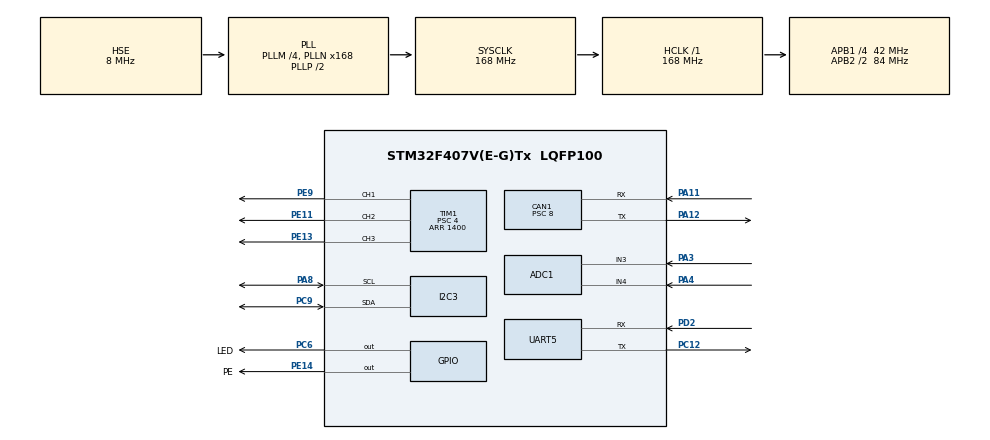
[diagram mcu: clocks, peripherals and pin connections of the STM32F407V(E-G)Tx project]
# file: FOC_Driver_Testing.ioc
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ADC1.Channel-0\#ChannelRegularConversion=ADC_CHANNEL_3
ADC1.Channel-2\#ChannelRegularConversion=ADC_CHANNEL_4
ADC1.ContinuousConvMode=ENABLE
ADC1.DMAContinuousRequests=ENABLE
ADC1.DiscontinuousConvMode=DISABLE
ADC1.EOCSelection=ADC_EOC_SEQ_CONV
ADC1.NbrOfConversion=2
ADC1.NbrOfConversionFlag=1
ADC1.Rank-2\#ChannelRegularConversion=2
ADC1.SamplingTime-2\#ChannelRegularConversion=ADC_SAMPLETIME_3CYCLES
ADC1.ScanConvMode=ENABLE
ADC1.master=1
CAN1.BS1=CAN_BS1_4TQ
CAN1.BS2=CAN_BS2_5TQ
CAN1.CalculateBaudRate=525000
CAN1.CalculateTimeBit=1904
CAN1.CalculateTimeQuantum=190.47619047619048
CAN1.Prescaler=8
Dma.ADC1.0.Direction=DMA_PERIPH_TO_MEMORY
Dma.ADC1.0.FIFOMode=DMA_FIFOMODE_DISABLE
Dma.ADC1.0.Instance=DMA2_Stream0
Dma.ADC1.0.MemDataAlignment=DMA_MDATAALIGN_HALFWORD
Dma.ADC1.0.MemInc=DMA_MINC_ENABLE
Dma.ADC1.0.Mode=DMA_CIRCULAR
Dma.ADC1.0.PeriphDataAlignment=DMA_PDATAALIGN_HALFWORD
Dma.ADC1.0.PeriphInc=DMA_PINC_DISABLE
Dma.ADC1.0.Priority=DMA_PRIORITY_LOW
Dma.Request0=ADC1
Mcu.Family=STM32F4
Mcu.Name=STM32F407V(E-G)Tx
Mcu.Package=LQFP100
NVIC.CAN1_RX0_IRQn=true\:0\:0\:false\:false\:true\:true\:true\:true
NVIC.DMA2_Stream0_IRQn=true\:0\:0\:false\:false\:true\:false\:true\:true
NVIC.PriorityGroup=NVIC_PRIORITYGROUP_4
NVIC.UART5_IRQn=true\:0\:0\:false\:false\:true\:true\:true\:true
PA11.Mode=CAN_Activate
PA11.Signal=CAN1_RX
PA12.Mode=CAN_Activate
PA12.Signal=CAN1_TX
PA3.Signal=ADCx_IN3
PA4.Signal=ADCx_IN4
PA8.Mode=I2C
PA8.Signal=I2C3_SCL
PC12.Mode=Asynchronous
PC12.Signal=UART5_TX
PC6.GPIO_Label=LED
PC6.Signal=GPIO_Output
PC9.Mode=I2C
PC9.Signal=I2C3_SDA
PD2.Mode=Asynchronous
PD2.Signal=UART5_RX
PE11.Signal=S_TIM1_CH2
PE13.Signal=S_TIM1_CH3
PE14.GPIO_Label=PE
PE14.Signal=GPIO_Output
PE9.Signal=S_TIM1_CH1
PH0-OSC_IN.Mode=HSE-External-Oscillator
PH0-OSC_IN.Signal=RCC_OSC_IN
PH1-OSC_OUT.Mode=HSE-External-Oscillator
PH1-OSC_OUT.Signal=RCC_OSC_OUT
ProjectManager.HeapSize=0x200
ProjectManager.StackSize=0x400
ProjectManager.TargetToolchain=MDK-ARM V5.32
RCC.48MHZClocksFreq_Value=84000000
RCC.AHBFreq_Value=168000000
RCC.APB1CLKDivider=RCC_HCLK_DIV4
RCC.APB1Freq_Value=42000000
RCC.APB1TimFreq_Value=84000000
RCC.APB2CLKDivider=RCC_HCLK_DIV2
RCC.APB2Freq_Value=84000000
RCC.APB2TimFreq_Value=168000000
RCC.CortexFreq_Value=168000000
RCC.HCLKFreq_Value=168000000
RCC.HSE_VALUE=8000000
RCC.HSI_VALUE=16000000
RCC.LSE_VALUE=32768
RCC.PLLM=4
RCC.PLLN=168
RCC.PLLSourceVirtual=RCC_PLLSOURCE_HSE
RCC.SYSCLKFreq_VALUE=168000000
RCC.SYSCLKSource=RCC_SYSCLKSOURCE_PLLCLK
RCC.VCOOutputFreq_Value=336000000
SH.ADCx_IN3.0=ADC1_IN3,IN3
SH.ADCx_IN4.0=ADC1_IN4,IN4
SH.S_TIM1_CH1.0=TIM1_CH1,PWM Generation1 CH1
SH.S_TIM1_CH2.0=TIM1_CH2,PWM Generation2 CH2
SH.S_TIM1_CH3.0=TIM1_CH3,PWM Generation3 CH3
TIM1.AutoReloadPreload=TIM_AUTORELOAD_PRELOAD_ENABLE
TIM1.Channel-PWM\ Generation1\ CH1=TIM_CHANNEL_1
TIM1.Channel-PWM\ Generation2\ CH2=TIM_CHANNEL_2
TIM1.Channel-PWM\ Generation3\ CH3=TIM_CHANNEL_3
TIM1.OCFastMode_PWM-PWM\ Generation3\ CH3=TIM_OCFAST_DISABLE
TIM1.Period=1400
TIM1.Prescaler=4
TIM2.AutoReloadPreload=TIM_AUTORELOAD_PRELOAD_ENABLE
TIM2.Prescaler=84
UART5.VirtualMode=Asynchronous
VP_TIM1_VS_ClockSourceINT.Mode=Internal
VP_TIM2_VS_ClockSourceINT.Mode=Internal
board=custom

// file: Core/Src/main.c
/* USER CODE BEGIN Header */
/**
  ******************************************************************************
  * @file           : main.c
  * @brief          : Main program body
  ******************************************************************************
  * @attention
  *
  * Copyright (c) 2024 STMicroelectronics.
  * All rights reserved.
  *
  * This software is licensed under terms that can be found in the LICENSE file
  * in the root directory of this software component.
  * If no LICENSE file comes with this software, it is provided AS-IS.
  *
  ******************************************************************************
  */
/* USER CODE END Header */
#include "main.h"
#include "adc.h"
#include "can.h"
#include "dma.h"
#include "i2c.h"
#include "tim.h"
#include "usart.h"
#include "gpio.h"

/* USER CODE BEGIN Includes */

#include "arm_math.h"
#include "MT6701.h"

/* USER CODE END Includes */

/* USER CODE BEGIN PD */

#define LED_State(x) HAL_GPIO_WritePin(GPIOC,GPIO_PIN_6,(GPIO_PinState)(!x))
#define DRV8313_Enable HAL_GPIO_WritePin(GPIOE,GPIO_PIN_14,GPIO_PIN_SET)

/* USER CODE END PD */

/* USER CODE BEGIN PV */

uint16_t ADC_Value[2] = {0};
uint8_t RxData;

extern TIM_HandleTypeDef htim2;
extern UART_HandleTypeDef huart5;
extern TIM_HandleTypeDef htim1;
/* USER CODE END PV */

void SystemClock_Config(void);

int main(void)
{

  /* MCU Configuration--------------------------------------------------------*/

  /* Reset of all peripherals, Initializes the Flash interface and the Systick. */
  HAL_Init();

  /* Configure the system clock */
  SystemClock_Config();

  /* Initialize all configured peripherals */
  MX_GPIO_Init();
  MX_DMA_Init();
  MX_ADC1_Init();
  MX_CAN1_Init();
  MX_I2C3_Init();
  MX_TIM1_Init();
  MX_UART5_Init();
  MX_TIM2_Init();
  /* USER CODE BEGIN 2 */

/*************** peripherals Initial ***************************/
	// start ADC1_DMA2,F4 doesn't has ADC calibration
	HAL_ADC_Start_DMA(&hadc1,(uint32_t*)&ADC_Value,2);

	// start timer1 PWM generation
	HAL_TIM_PWM_Start(&htim1, TIM_CHANNEL_1);
	HAL_TIM_PWM_Start(&htim1, TIM_CHANNEL_2);
	HAL_TIM_PWM_Start(&htim1, TIM_CHANNEL_3);

	TIM1->CCR1 = 0;
	TIM1->CCR2 = 0;
	TIM1->CCR3 = 0;

	// Enable DRV8313 to generate PWM
	DRV8313_Enable;

	// start timer2 for couting time by us
	TIM2->CNT = 0;
	HAL_TIM_Base_Start(&htim2);

	// UART5_Receive IT
	HAL_UART_Receive_IT(&huart5, (uint8_t *)&RxData, 1);

	// start CAN1
	HAL_CAN_Start(&hcan1);
	//configure CAN1 Filter
	CAN_Filter_Init();
	// Enable CAN1 fifo0 receive interrupt
	HAL_CAN_ActivateNotification(&hcan1,CAN_IT_RX_FIFO0_MSG_PENDING);

	// to show codes are running
	LED_State(0);HAL_Delay(100);
	LED_State(1);HAL_Delay(1000);
	LED_State(0);

/*************** FOC Initial ***************************/

  /* USER CODE END 2 */

  /* Infinite loop */
  while (1)
  {

  }
}

void SystemClock_Config(void)
{
  RCC_OscInitTypeDef RCC_OscInitStruct = {0};
  RCC_ClkInitTypeDef RCC_ClkInitStruct = {0};

  /** Configure the main internal regulator output voltage
  */
  __HAL_RCC_PWR_CLK_ENABLE();
  __HAL_PWR_VOLTAGESCALING_CONFIG(PWR_REGULATOR_VOLTAGE_SCALE1);

  /** Initializes the RCC Oscillators according to the specified parameters
  * in the RCC_OscInitTypeDef structure.
  */
  RCC_OscInitStruct.OscillatorType = RCC_OSCILLATORTYPE_HSE;
  RCC_OscInitStruct.HSEState = RCC_HSE_ON;
  RCC_OscInitStruct.PLL.PLLState = RCC_PLL_ON;
  RCC_OscInitStruct.PLL.PLLSource = RCC_PLLSOURCE_HSE;
  RCC_OscInitStruct.PLL.PLLM = 4;
  RCC_OscInitStruct.PLL.PLLN = 168;
  RCC_OscInitStruct.PLL.PLLP = RCC_PLLP_DIV2;
  RCC_OscInitStruct.PLL.PLLQ = 4;
  if (HAL_RCC_OscConfig(&RCC_OscInitStruct) != HAL_OK)
  {
    Error_Handler();
  }

  /** Initializes the CPU, AHB and APB buses clocks
  */
  RCC_ClkInitStruct.ClockType = RCC_CLOCKTYPE_HCLK|RCC_CLOCKTYPE_SYSCLK
                              |RCC_CLOCKTYPE_PCLK1|RCC_CLOCKTYPE_PCLK2;
  RCC_ClkInitStruct.SYSCLKSource = RCC_SYSCLKSOURCE_PLLCLK;
  RCC_ClkInitStruct.AHBCLKDivider = RCC_SYSCLK_DIV1;
  RCC_ClkInitStruct.APB1CLKDivider = RCC_HCLK_DIV4;
  RCC_ClkInitStruct.APB2CLKDivider = RCC_HCLK_DIV2;

  if (HAL_RCC_ClockConfig(&RCC_ClkInitStruct, FLASH_LATENCY_5) != HAL_OK)
  {
    Error_Handler();
  }
}

void Error_Handler(void)
{
  __disable_irq();
  while (1)
  {
  }
}
